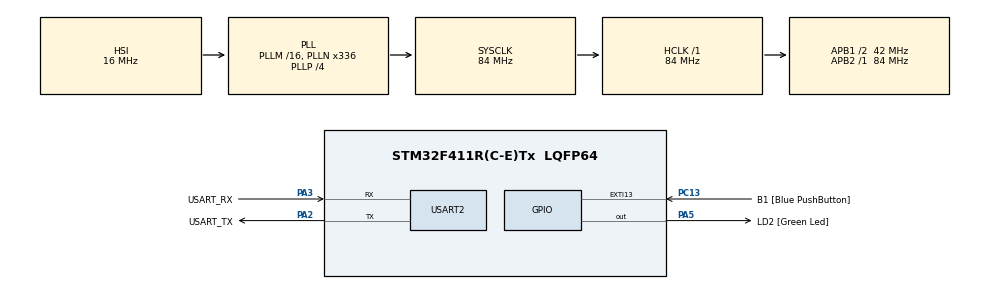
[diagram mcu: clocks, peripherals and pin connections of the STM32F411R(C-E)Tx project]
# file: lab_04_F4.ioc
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Mcu.Family=STM32F4
Mcu.Name=STM32F411R(C-E)Tx
Mcu.Package=LQFP64
NVIC.PriorityGroup=NVIC_PRIORITYGROUP_0
NVIC.TIM2_IRQn=true\:0\:0\:false\:false\:true\:true\:true\:true
PA13.GPIO_Label=TMS
PA13.Mode=Serial_Wire
PA13.Signal=SYS_JTMS-SWDIO
PA14.GPIO_Label=TCK
PA14.Mode=Serial_Wire
PA14.Signal=SYS_JTCK-SWCLK
PA2.GPIO_Label=USART_TX
PA2.Mode=Asynchronous
PA2.Signal=USART2_TX
PA3.GPIO_Label=USART_RX
PA3.Mode=Asynchronous
PA3.Signal=USART2_RX
PA5.GPIO_Label=LD2 [Green Led]
PA5.Signal=GPIO_Output
PB3.GPIO_Label=SWO
PB3.Signal=SYS_JTDO-SWO
PC13-ANTI_TAMP.GPIO_Label=B1 [Blue PushButton]
PC13-ANTI_TAMP.GPIO_ModeDefaultEXTI=GPIO_MODE_IT_FALLING
PC13-ANTI_TAMP.Signal=GPXTI13
PC14-OSC32_IN.Mode=LSE-External-Oscillator
PC14-OSC32_IN.Signal=RCC_OSC32_IN
PC15-OSC32_OUT.Mode=LSE-External-Oscillator
PC15-OSC32_OUT.Signal=RCC_OSC32_OUT
PH0\ -\ OSC_IN.Mode=HSE-External-Clock-Source
PH0\ -\ OSC_IN.Signal=RCC_OSC_IN
PH1\ -\ OSC_OUT.Mode=HSE-External-Clock-Source
PH1\ -\ OSC_OUT.Signal=RCC_OSC_OUT
ProjectManager.HeapSize=0x200
ProjectManager.StackSize=0x400
ProjectManager.TargetToolchain=STM32CubeIDE
RCC.48MHZClocksFreq_Value=84000000
RCC.AHBFreq_Value=84000000
RCC.APB1CLKDivider=RCC_HCLK_DIV2
RCC.APB1Freq_Value=42000000
RCC.APB1TimFreq_Value=84000000
RCC.APB2Freq_Value=84000000
RCC.APB2TimFreq_Value=84000000
RCC.CortexFreq_Value=84000000
RCC.FLatency-AdvancedSettings=FLASH_LATENCY_2
RCC.HCLKFreq_Value=84000000
RCC.HSE_VALUE=8000000
RCC.HSI_VALUE=16000000
RCC.PLLN=336
RCC.PLLP=RCC_PLLP_DIV4
RCC.SYSCLKFreq_VALUE=84000000
RCC.SYSCLKSource=RCC_SYSCLKSOURCE_PLLCLK
RCC.VCOOutputFreq_Value=336000000
TIM2.Period=0xFFFFFFFF
TIM2.Prescaler=8400-1
USART2.VirtualMode=VM_ASYNC
VP_TIM2_VS_ClockSourceINT.Mode=Internal
board=NUCLEO-F411RE

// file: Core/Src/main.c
/* USER CODE BEGIN Header */
/**
  ******************************************************************************
  * @file           : main.c
  * @brief          : Main program body
  ******************************************************************************
  * @attention
  *
  * Copyright (c) 2025 STMicroelectronics.
  * All rights reserved.
  *
  * This software is licensed under terms that can be found in the LICENSE file
  * in the root directory of this software component.
  * If no LICENSE file comes with this software, it is provided AS-IS.
  *
  ******************************************************************************
  */
/* USER CODE END Header */
#include "main.h"

TIM_HandleTypeDef htim2;

UART_HandleTypeDef huart2;

void SystemClock_Config(void);
static void MX_GPIO_Init(void);
static void MX_USART2_UART_Init(void);
static void MX_TIM2_Init(void);

/* USER CODE BEGIN 0 */

void delay_ms(uint32_t ms){
    uint32_t startTick = __HAL_TIM_GET_COUNTER(&htim2); // Pega o contador inicial

    while ((__HAL_TIM_GET_COUNTER(&htim2) - startTick) < ms*10) //compara com o valor pedido
    {
        // Espera o tempo desejado
    }
}

/* USER CODE END 0 */

int main(void)
{

  /* MCU Configuration--------------------------------------------------------*/

  /* Reset of all peripherals, Initializes the Flash interface and the Systick. */
  HAL_Init();

  /* Configure the system clock */
  SystemClock_Config();

  /* Initialize all configured peripherals */
  MX_GPIO_Init();
  MX_USART2_UART_Init();
  MX_TIM2_Init();

  /* Infinite loop */
  /* USER CODE BEGIN WHILE */
  HAL_TIM_Base_Start(&htim2); //inicializa timer
  int contador=0; //inicializa o contador
  while (1)
  {
	  GPIOA->ODR ^= 1 << 5; //Inverte o estado do led (led aceso ou apagado)
	  delay_ms(1000); 	//Espera 1 segundo
	  	  if((GPIOC->IDR & (0b01 << 13))==0) //Se o botão estiver apertado
	  	  {
	  		  contador++; // Incrementa variável contadora em 1
	  	  	 if(contador >= 10) //Caso contador maior que 10 (10 segundos de bptão apertado)
	  	  	 {
	  	  		 while(1){ //enquanto botão não for solto, led pisca
	  	  			GPIOA->ODR ^= 1 << 5;
	  	  			delay_ms(1000);
	  	  			 if((GPIOC->IDR & (0b01 << 13))){//se botão for solto, quebra o while
	  	  				 break;
	  	  			 }
	  	  		 }
	  	  		contador = 0; //Reseta o contador
	  	  		GPIOA->ODR |= 1 << 5; //PA5=1
	  	  		delay_ms(30000); // Espera 30 segundos com PA5=1
	  	  	 }
	  	  }
	  	  else{
	  		  contador=0;
	  	  }
    /* USER CODE END WHILE */
  }
}

void SystemClock_Config(void)
{
  RCC_OscInitTypeDef RCC_OscInitStruct = {0};
  RCC_ClkInitTypeDef RCC_ClkInitStruct = {0};

  /** Configure the main internal regulator output voltage
  */
  __HAL_RCC_PWR_CLK_ENABLE();
  __HAL_PWR_VOLTAGESCALING_CONFIG(PWR_REGULATOR_VOLTAGE_SCALE1);

  /** Initializes the RCC Oscillators according to the specified parameters
  * in the RCC_OscInitTypeDef structure.
  */
  RCC_OscInitStruct.OscillatorType = RCC_OSCILLATORTYPE_HSI;
  RCC_OscInitStruct.HSIState = RCC_HSI_ON;
  RCC_OscInitStruct.HSICalibrationValue = RCC_HSICALIBRATION_DEFAULT;
  RCC_OscInitStruct.PLL.PLLState = RCC_PLL_ON;
  RCC_OscInitStruct.PLL.PLLSource = RCC_PLLSOURCE_HSI;
  RCC_OscInitStruct.PLL.PLLM = 16;
  RCC_OscInitStruct.PLL.PLLN = 336;
  RCC_OscInitStruct.PLL.PLLP = RCC_PLLP_DIV4;
  RCC_OscInitStruct.PLL.PLLQ = 4;
  if (HAL_RCC_OscConfig(&RCC_OscInitStruct) != HAL_OK)
  {
    Error_Handler();
  }

  /** Initializes the CPU, AHB and APB buses clocks
  */
  RCC_ClkInitStruct.ClockType = RCC_CLOCKTYPE_HCLK|RCC_CLOCKTYPE_SYSCLK
                              |RCC_CLOCKTYPE_PCLK1|RCC_CLOCKTYPE_PCLK2;
  RCC_ClkInitStruct.SYSCLKSource = RCC_SYSCLKSOURCE_PLLCLK;
  RCC_ClkInitStruct.AHBCLKDivider = RCC_SYSCLK_DIV1;
  RCC_ClkInitStruct.APB1CLKDivider = RCC_HCLK_DIV2;
  RCC_ClkInitStruct.APB2CLKDivider = RCC_HCLK_DIV1;

  if (HAL_RCC_ClockConfig(&RCC_ClkInitStruct, FLASH_LATENCY_2) != HAL_OK)
  {
    Error_Handler();
  }
}

static void MX_TIM2_Init(void)
{

  TIM_ClockConfigTypeDef sClockSourceConfig = {0};
  TIM_MasterConfigTypeDef sMasterConfig = {0};

  htim2.Instance = TIM2;
  htim2.Init.Prescaler = 8400-1;
  htim2.Init.CounterMode = TIM_COUNTERMODE_UP;
  htim2.Init.Period = 0xFFFFFFFF;
  htim2.Init.ClockDivision = TIM_CLOCKDIVISION_DIV1;
  htim2.Init.AutoReloadPreload = TIM_AUTORELOAD_PRELOAD_DISABLE;
  if (HAL_TIM_Base_Init(&htim2) != HAL_OK)
  {
    Error_Handler();
  }
  sClockSourceConfig.ClockSource = TIM_CLOCKSOURCE_INTERNAL;
  if (HAL_TIM_ConfigClockSource(&htim2, &sClockSourceConfig) != HAL_OK)
  {
    Error_Handler();
  }
  sMasterConfig.MasterOutputTrigger = TIM_TRGO_RESET;
  sMasterConfig.MasterSlaveMode = TIM_MASTERSLAVEMODE_DISABLE;
  if (HAL_TIMEx_MasterConfigSynchronization(&htim2, &sMasterConfig) != HAL_OK)
  {
    Error_Handler();
  }

}

static void MX_USART2_UART_Init(void)
{

  huart2.Instance = USART2;
  huart2.Init.BaudRate = 115200;
  huart2.Init.WordLength = UART_WORDLENGTH_8B;
  huart2.Init.StopBits = UART_STOPBITS_1;
  huart2.Init.Parity = UART_PARITY_NONE;
  huart2.Init.Mode = UART_MODE_TX_RX;
  huart2.Init.HwFlowCtl = UART_HWCONTROL_NONE;
  huart2.Init.OverSampling = UART_OVERSAMPLING_16;
  if (HAL_UART_Init(&huart2) != HAL_OK)
  {
    Error_Handler();
  }

}

static void MX_GPIO_Init(void)
{
  GPIO_InitTypeDef GPIO_InitStruct = {0};

  /* GPIO Ports Clock Enable */
  __HAL_RCC_GPIOC_CLK_ENABLE();
  __HAL_RCC_GPIOH_CLK_ENABLE();
  __HAL_RCC_GPIOA_CLK_ENABLE();
  __HAL_RCC_GPIOB_CLK_ENABLE();

  /*Configure GPIO pin Output Level */
  HAL_GPIO_WritePin(LD2_GPIO_Port, LD2_Pin, GPIO_PIN_RESET);

  /*Configure GPIO pin : B1_Pin */
  GPIO_InitStruct.Pin = B1_Pin;
  GPIO_InitStruct.Mode = GPIO_MODE_IT_FALLING;
  GPIO_InitStruct.Pull = GPIO_NOPULL;
  HAL_GPIO_Init(B1_GPIO_Port, &GPIO_InitStruct);

  /*Configure GPIO pin : LD2_Pin */
  GPIO_InitStruct.Pin = LD2_Pin;
  GPIO_InitStruct.Mode = GPIO_MODE_OUTPUT_PP;
  GPIO_InitStruct.Pull = GPIO_NOPULL;
  GPIO_InitStruct.Speed = GPIO_SPEED_FREQ_LOW;
  HAL_GPIO_Init(LD2_GPIO_Port, &GPIO_InitStruct);

}

void Error_Handler(void)
{
  __disable_irq();
  while (1)
  {
  }
}
